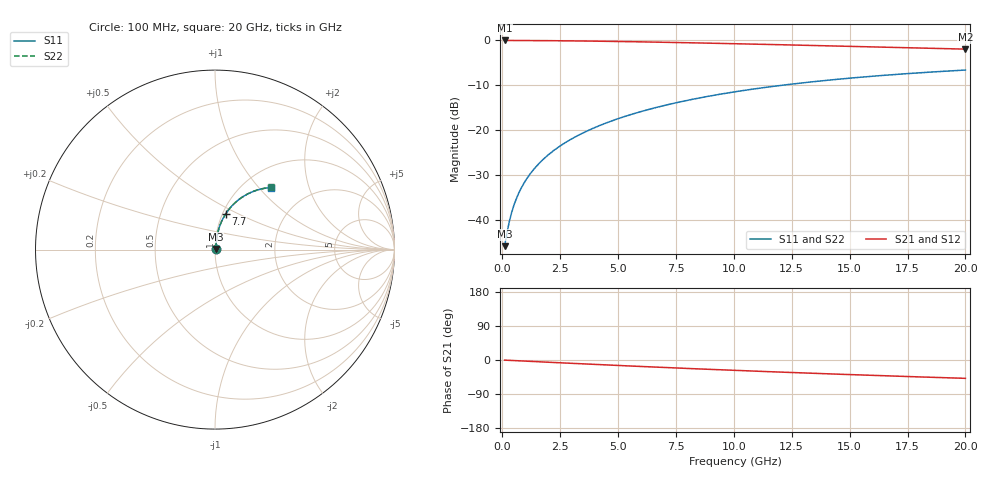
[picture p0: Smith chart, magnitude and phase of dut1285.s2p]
! Touchstone file exported from HFSS 2024.1.0
!  File:  C:/UserFiles/LocalFiles/RDL_TSV_Batchsim/temp_RDL_bottom_1285_1780246801.aedt
!  Generated:  01:02:31 AM Jun  1, 2026
!  Design:  RDL_bottom
!  Project:  temp_RDL_bottom_1285_1780246801
!  Setup:  Setup1
!  Solution:  Sweep
! Variables:
!  dtsv = 10.80580581um
!  hbump = 3um
!  htsv = 61.12um
!  ldown = 658.37um
!  lrdl = 100um
!  p = 40
!  p1 = 54.05um
!  rhole = 1um
!  t = 450um
!  tdown = 3.03um
!  trdl = 3.915915916um
!  wdown = 18.96um
!  wrdl = 20um
# GHz S MA R 50.000000
! Terminal data exported
! Port[1] = RDL1_T1
! Port[2] = RDL1_T2
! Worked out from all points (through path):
!   200 points, 100 MHz to 20 GHz, reference 50 ohm
!   highest |S21| = -0.04 dB at 100 MHz (marker M1); lowest = -2.0 dB at 20 GHz (marker M2)
!   group delay of S21, straight-line fit = 6.7 ps
!   lowest |S11| = -45.9 dB at 100 MHz (marker M3), VSWR 1.01, Z = 50.4 + j0.286 ohm
!   |S11| at or under -10 dB: start of sweep to 12.11 GHz
!   |S22| runs from -45.9 to -6.6 dB; largest |S21 - S12| = 5.1e-15
!   S11 on the Smith chart (normalised r, x): 100 MHz: 1.01, +0.01; 7.7 GHz: 1.04, +0.43; 20 GHz: 1.32, +1.17
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0.1  0.005092 33.8  0.9958 -0.3  0.9958 -0.3  0.005092 33.8
! Gamma 0 0 0 0
! Port Impedance 50 0 50 0
0.2  0.007117 52.1  0.9956 -0.6  0.9956 -0.6  0.007117 52.1
0.3  0.009501 61.4  0.9954 -0.9  0.9954 -0.9  0.009501 61.4
0.4  0.01198 66.7  0.9952 -1.2  0.9952 -1.2  0.01198 66.7
0.5  0.0145 70.1  0.995 -1.5  0.995 -1.5  0.0145 70.1
0.6  0.01702 72.5  0.9948 -1.8  0.9948 -1.8  0.01702 72.5
0.8  0.02211 75.7  0.9943 -2.4  0.9943 -2.4  0.02211 75.7
1.1  0.02981 78.4  0.9936 -3.3  0.9936 -3.3  0.02981 78.4
1.3  0.03499 79.4  0.993 -3.9  0.993 -3.9  0.03499 79.4
1.6  0.04281 80.4  0.992 -4.7  0.992 -4.7  0.04281 80.4
2.1  0.05596 81.2  0.99 -6.2  0.99 -6.2  0.05596 81.2
2.7  0.07188 81.3  0.9869 -7.9  0.9869 -7.9  0.07189 81.3
3.5  0.09332 80.7  0.9819 -10.2  0.9819 -10.2  0.09333 80.7
4.2  0.1122 79.9  0.9767 -12.2  0.9767 -12.2  0.1122 79.9
5  0.1339 78.6  0.97 -14.4  0.97 -14.4  0.1339 78.7
5.9  0.1583 77.1  0.9617 -16.9  0.9617 -16.9  0.1584 77.1
6.8  0.1826 75.3  0.9526 -19.2  0.9526 -19.2  0.1826 75.3
7.7  0.2066 73.4  0.943 -21.6  0.943 -21.6  0.2067 73.5
10.1  0.2682 68.2  0.9155 -27.5  0.9155 -27.5  0.2684 68.3
13.4  0.3451 61.0  0.8757 -35.0  0.8757 -35.0  0.3453 61.0
16.7  0.4112 54.2  0.8358 -42.0  0.8358 -42.0  0.4114 54.2
20  0.4663 47.8  0.7974 -48.4  0.7974 -48.4  0.4666 47.9
